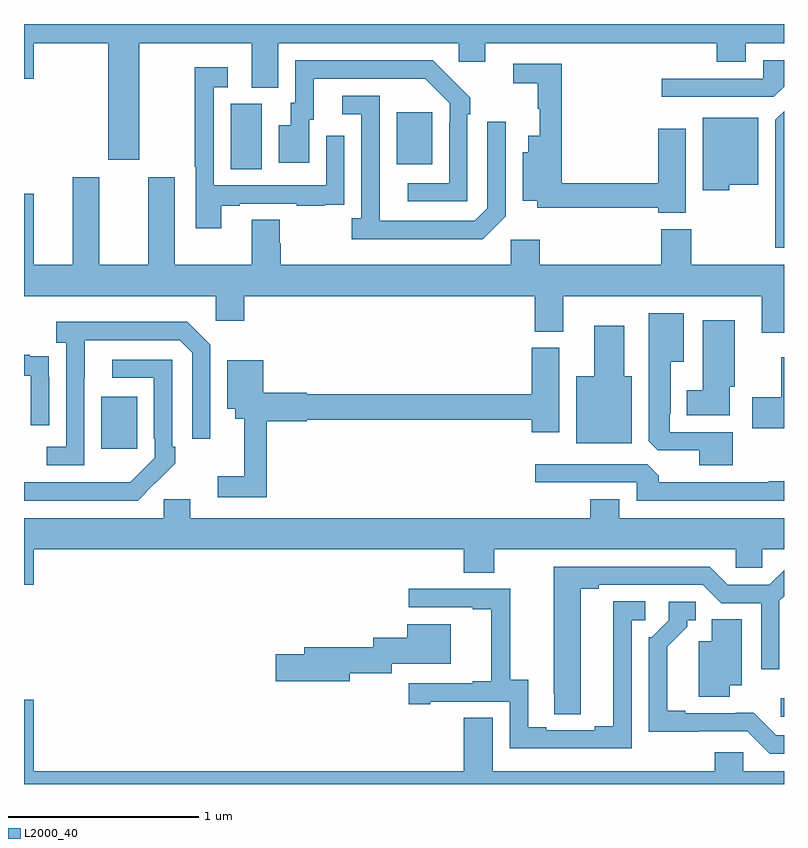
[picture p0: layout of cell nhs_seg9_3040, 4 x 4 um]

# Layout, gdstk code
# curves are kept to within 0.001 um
import gdstk
lib = gdstk.Library(unit=1e-6, precision=1e-09)
def R(c, l, rs):  # rectangles x0, y0, x1, y1
    for r in rs: c.add(gdstk.rectangle(r[:2], r[2:], *l))
def P(c, l, *ps):  # polygons
    for p in ps: c.add(gdstk.Polygon(p, *l))
L2000_40 = (2000, 40)

nhs_seg9_3040 = lib.new_cell('nhs_seg9_3040')
R(nhs_seg9_3040, L2000_40, [(288.984,1212.855,289,1212.952), (285.407,1214.265,285.595,1214.539), (286.088,1215.736,286.252,1216.08), (286.961,1215.761,287.149,1216.036)])
P(nhs_seg9_3040, L2000_40, [(285.607,1216.4),(286.199,1216.4),(286.199,1216.165),(286.339,1216.165),(286.339,1216.4),(287.289,1216.4),(287.289,1216.302),(287.428,1216.302),(287.428,1216.4),(288.647,1216.4),(288.647,1216.301),(288.799,1216.301),(288.799,1216.4),(289,1216.4),(289,1216.5),(285,1216.5),(285,1216.212),(285.052,1216.212),(285.052,1216.4),(285.443,1216.4),(285.443,1215.786),(285.607,1215.786)],
  [(289,1216.171),(289,1216.308),(288.891,1216.308),(288.891,1216.212),(288.357,1216.212),(288.357,1216.116),(288.945,1216.116)],
  [(287.334,1216.025),(287.349,1216.025),(287.349,1216.113),(287.152,1216.308),(286.428,1216.308),(286.428,1216.086),(286.403,1216.086),(286.403,1215.967),(286.34,1215.967),(286.34,1215.771),(286.501,1215.771),(286.501,1215.996),(286.525,1215.996),(286.525,1216.212),(287.113,1216.212),(287.241,1216.083),(287.241,1215.983),(287.238,1215.983),(287.238,1215.663),(287.019,1215.663),(287.019,1215.567),(287.334,1215.567)],
  [(288.484,1215.949),(288.338,1215.949),(288.338,1215.662),(287.831,1215.662),(287.831,1216.29),(287.574,1216.29),(287.574,1216.189),(287.703,1216.189),(287.703,1216.053),(287.714,1216.053),(287.714,1215.913),(287.654,1215.913),(287.654,1215.826),(287.624,1215.826),(287.624,1215.569),(287.7,1215.569),(287.7,1215.534),(288.338,1215.534),(288.338,1215.506),(288.484,1215.506)],
  [(286.039,1215.543),(286.135,1215.543),(286.135,1215.555),(286.435,1215.555),(286.435,1215.543),(286.583,1215.543),(286.583,1215.549),(286.685,1215.549),(286.685,1215.658),(286.686,1215.658),(286.686,1215.913),(286.59,1215.913),(286.59,1215.651),(285.999,1215.651),(285.999,1216.167),(286.072,1216.167),(286.072,1216.273),(285.898,1216.273),(285.898,1215.748),(285.903,1215.748),(285.903,1215.426),(286.039,1215.426)],
  [(287.535,1215.489),(287.535,1215.985),(287.439,1215.985),(287.439,1215.531),(287.373,1215.465),(286.873,1215.465),(286.872,1216.122),(286.674,1216.122),(286.674,1216.026),(286.776,1216.026),(286.776,1215.478),(286.725,1215.478),(286.725,1215.368),(287.414,1215.368)],
  [(289,1216.042),(288.953,1215.995),(288.953,1215.323),(289,1215.323)],
  [(288.711,1215.653),(288.865,1215.653),(288.865,1216.006),(288.572,1216.006),(288.572,1215.626),(288.711,1215.626)],
  [(289,1215.232),(288.513,1215.232),(288.513,1215.421),(288.353,1215.421),(288.353,1215.232),(287.714,1215.232),(287.714,1215.364),(287.562,1215.364),(287.562,1215.232),(286.352,1215.232),(286.352,1215.345),(286.347,1215.345),(286.347,1215.47),(286.199,1215.47),(286.199,1215.232),(285.793,1215.232),(285.793,1215.694),(285.653,1215.694),(285.653,1215.232),(285.397,1215.232),(285.397,1215.694),(285.257,1215.694),(285.257,1215.232),(285.052,1215.232),(285.052,1215.607),(285,1215.607),(285,1215.068),(286.008,1215.068),(286.008,1214.937),(286.16,1214.937),(286.16,1215.068),(287.687,1215.068),(287.687,1214.881),(287.839,1214.881),(287.839,1215.068),(288.884,1215.068),(288.884,1214.874),(289,1214.874)],
  [(288.73,1214.352),(288.399,1214.352),(288.399,1214.449),(288.403,1214.449),(288.403,1214.723),(288.472,1214.723),(288.472,1214.977),(288.287,1214.977),(288.287,1214.305),(288.336,1214.256),(288.554,1214.256),(288.554,1214.177),(288.73,1214.177)],
  [(288.715,1214.592),(288.742,1214.592),(288.742,1214.941),(288.572,1214.941),(288.572,1214.572),(288.488,1214.572),(288.488,1214.441),(288.715,1214.441)],
  [(285.318,1214.635),(285.319,1214.835),(285.819,1214.835),(285.885,1214.769),(285.885,1214.316),(285.981,1214.316),(285.981,1214.811),(285.86,1214.932),(285.171,1214.932),(285.171,1214.822),(285.222,1214.822),(285.222,1214.274),(285.12,1214.274),(285.12,1214.178),(285.318,1214.178)],
  [(288.199,1214.647),(288.16,1214.647),(288.16,1214.911),(288.002,1214.911),(288.002,1214.647),(287.906,1214.647),(287.906,1214.294),(288.199,1214.294)],
  [(286.277,1214.408),(286.488,1214.408),(286.488,1214.416),(287.672,1214.416),(287.672,1214.352),(287.818,1214.352),(287.818,1214.796),(287.672,1214.796),(287.672,1214.552),(286.488,1214.552),(286.488,1214.56),(286.258,1214.56),(286.258,1214.731),(286.07,1214.731),(286.07,1214.474),(286.112,1214.474),(286.112,1214.423),(286.16,1214.423),(286.16,1214.119),(286.02,1214.119),(286.02,1214.01),(286.277,1214.01)],
  [(285.132,1214.642),(285.131,1214.642),(285.131,1214.751),(285.029,1214.751),(285.029,1214.758),(285,1214.758),(285,1214.649),(285.036,1214.649),(285.036,1214.388),(285.132,1214.388)],
  [(289,1214.746),(288.986,1214.746),(288.986,1214.535),(288.834,1214.535),(288.834,1214.372),(289,1214.372)],
  [(285.689,1214.083),(285.69,1214.082),(285.795,1214.187),(285.795,1214.275),(285.78,1214.275),(285.78,1214.733),(285.465,1214.733),(285.465,1214.637),(285.684,1214.637),(285.684,1214.317),(285.687,1214.317),(285.687,1214.217),(285.559,1214.089),(285,1214.088),(285,1213.992),(285.598,1213.992)],
  [(289,1214.093),(288.92,1214.093),(288.92,1214.088),(288.341,1214.088),(288.341,1214.122),(288.279,1214.184),(287.691,1214.184),(287.691,1214.088),(288.225,1214.088),(288.225,1213.992),(289,1213.992)],
  [(285.052,1213.736),(287.315,1213.736),(287.315,1213.612),(287.475,1213.612),(287.475,1213.736),(288.747,1213.736),(288.747,1213.638),(288.885,1213.638),(288.885,1213.736),(289,1213.736),(289,1213.9),(288.133,1213.9),(288.133,1213.999),(287.981,1213.999),(287.981,1213.9),(285.874,1213.9),(285.874,1213.998),(285.735,1213.998),(285.735,1213.9),(285,1213.9),(285,1213.548),(285.052,1213.548)],
  [(287.929,1213.528),(288.025,1213.528),(288.025,1213.548),(288.573,1213.548),(288.669,1213.452),(288.879,1213.452),(288.879,1213.104),(288.975,1213.104),(288.975,1213.464),(289,1213.489),(289,1213.625),(288.923,1213.548),(288.705,1213.548),(288.609,1213.644),(287.789,1213.644),(287.79,1212.868),(287.929,1212.868)],
  [(288.198,1213.362),(288.271,1213.362),(288.271,1213.463),(288.101,1213.463),(288.101,1212.803),(288.005,1212.803),(288.005,1212.783),(287.749,1212.783),(287.749,1212.798),(287.653,1212.798),(287.653,1213.049),(287.559,1213.049),(287.559,1213.527),(287.025,1213.527),(287.025,1213.431),(287.363,1213.431),(287.363,1213.419),(287.459,1213.419),(287.459,1213.042),(287.363,1213.042),(287.363,1213.029),(287.025,1213.029),(287.025,1212.921),(287.137,1212.921),(287.137,1212.933),(287.556,1212.933),(287.556,1212.687),(288.198,1212.687)],
  [(289,1212.756),(288.96,1212.756),(288.842,1212.874),(288.481,1212.873),(288.481,1212.886),(288.385,1212.886),(288.385,1213.222),(288.49,1213.327),(288.49,1213.362),(288.535,1213.362),(288.535,1213.458),(288.393,1213.458),(288.393,1213.362),(288.303,1213.272),(288.288,1213.272),(288.288,1212.776),(288.807,1212.777),(288.924,1212.66),(289,1212.66)],
  [(288.715,1213.019),(288.778,1213.019),(288.778,1213.367),(288.62,1213.367),(288.62,1213.252),(288.551,1213.252),(288.551,1212.958),(288.715,1212.958)],
  [(286.714,1213.084),(286.936,1213.084),(286.936,1213.133),(287.245,1213.133),(287.245,1213.342),(287.018,1213.342),(287.018,1213.27),(286.838,1213.27),(286.838,1213.22),(286.475,1213.22),(286.475,1213.184),(286.326,1213.184),(286.326,1213.042),(286.714,1213.042)],
  [(289,1212.568),(288.786,1212.568),(288.786,1212.666),(288.635,1212.666),(288.635,1212.568),(287.467,1212.568),(287.467,1212.848),(287.315,1212.848),(287.315,1212.568),(285.052,1212.568),(285.052,1212.943),(285,1212.943),(285,1212.5),(289,1212.5)])

lib.write_gds('nhs_seg9_3040.gds')
